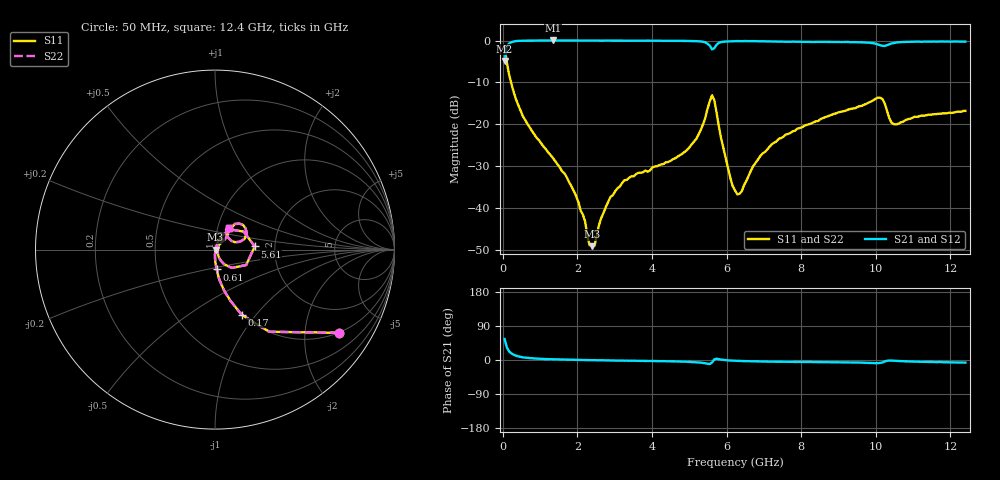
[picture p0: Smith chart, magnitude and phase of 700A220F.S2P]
!  American Technical Ceramics  Date:  3/13/98
!  One Norden Lane
!  Huntington Station,  NY.  11746-2102
!  Tel:  (516) 547-5700  Fax:  (516) 547-5748
!  Part Number  700A220F
!  Description: Porcelain, High Q, Low ESR
!  Application: Bypass, Coupling, Timing, Feedback
!  Tuning, Impedance Match, Blocking
# GHZ S DB R 50
! Freq  |S11|  S11 Ph  |S21|  S21 Ph  |S12|  S12 Ph  |S22|  S22 Ph
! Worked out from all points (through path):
!   201 points, 50 MHz to 12.4 GHz, reference 50 ohm
!   highest |S21| = 0.02 dB at 1.35 GHz (marker M1); lowest = -4.9 dB at 50 MHz (marker M2)
!   group delay of S21, straight-line fit = 2.96 ps
!   lowest |S11| = -49.1 dB at 2.4 GHz (marker M3), VSWR 1.01, Z = 50.3 - j0.0184 ohm
!   |S11| at or under -10 dB: 223.3 MHz to end of sweep
!   |S22| runs from -49.1 to -1.6 dB; largest |S21 - S12| = 0
!   S11 on the Smith chart (normalised r, x): 50 MHz: 1.00, -2.97; 170 MHz: 0.99, -0.85; 610 MHz: 0.99, -0.22; 5.61 GHz: 1.57, +0.06; 12.4 GHz: 1.13, +0.28
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0.05  -1.62 -34.0  -4.89 55.5  -4.89 55.5  -1.62 -34.0
0.11  -5.22 -56.6  -1.52 33.1  -1.52 33.1  -5.22 -56.6
0.17  -8.15 -67.8  -0.70 22.6  -0.70 22.6  -8.15 -67.8
0.61  -19.10 -85.3  -0.03 6.2  -0.03 6.2  -19.10 -85.3
1.35  -28.12 -90.0  0.02 1.9  0.02 1.9  -28.12 -90.0
2.15  -41.64 -77.5  -0.01 -0.0  -0.01 -0.0  -41.64 -77.5
2.33  -48.91 -41.4  0.00 -0.3  0.00 -0.3  -48.91 -41.4
2.4  -49.14 -3.0  0.00 -0.6  0.00 -0.6  -49.14 -3.0
2.89  -37.32 65.7  -0.01 -1.2  -0.01 -1.2  -37.32 65.7
3.26  -33.38 65.6  -0.02 -1.8  -0.02 -1.8  -33.38 65.6
4.19  -29.78 66.1  -0.03 -3.0  -0.03 -3.0  -29.78 66.1
5.18  -23.59 66.3  -0.15 -5.9  -0.15 -5.9  -23.59 66.3
5.61  -13.07 4.6  -2.10 -6.5  -2.10 -6.5  -13.07 4.6
5.73  -17.17 -47.6  -1.01 3.4  -1.01 3.4  -17.17 -47.6
6.1  -32.82 -50.1  -0.18 -1.4  -0.18 -1.4  -32.82 -50.1
6.23  -35.88 -24.8  -0.15 -2.0  -0.15 -2.0  -35.88 -24.8
6.35  -36.62 7.2  -0.14 -2.4  -0.14 -2.4  -36.62 7.2
7.21  -24.80 47.9  -0.21 -4.3  -0.21 -4.3  -24.80 47.9
8.32  -19.59 50.0  -0.34 -5.4  -0.34 -5.4  -19.59 50.0
10.05  -13.65 41.7  -0.91 -8.2  -0.91 -8.2  -13.65 41.7
10.36  -18.55 20.4  -0.90 -1.6  -0.90 -1.6  -18.55 20.4
12.4  -16.82 57.4  -0.25 -6.8  -0.25 -6.8  -16.82 57.4
